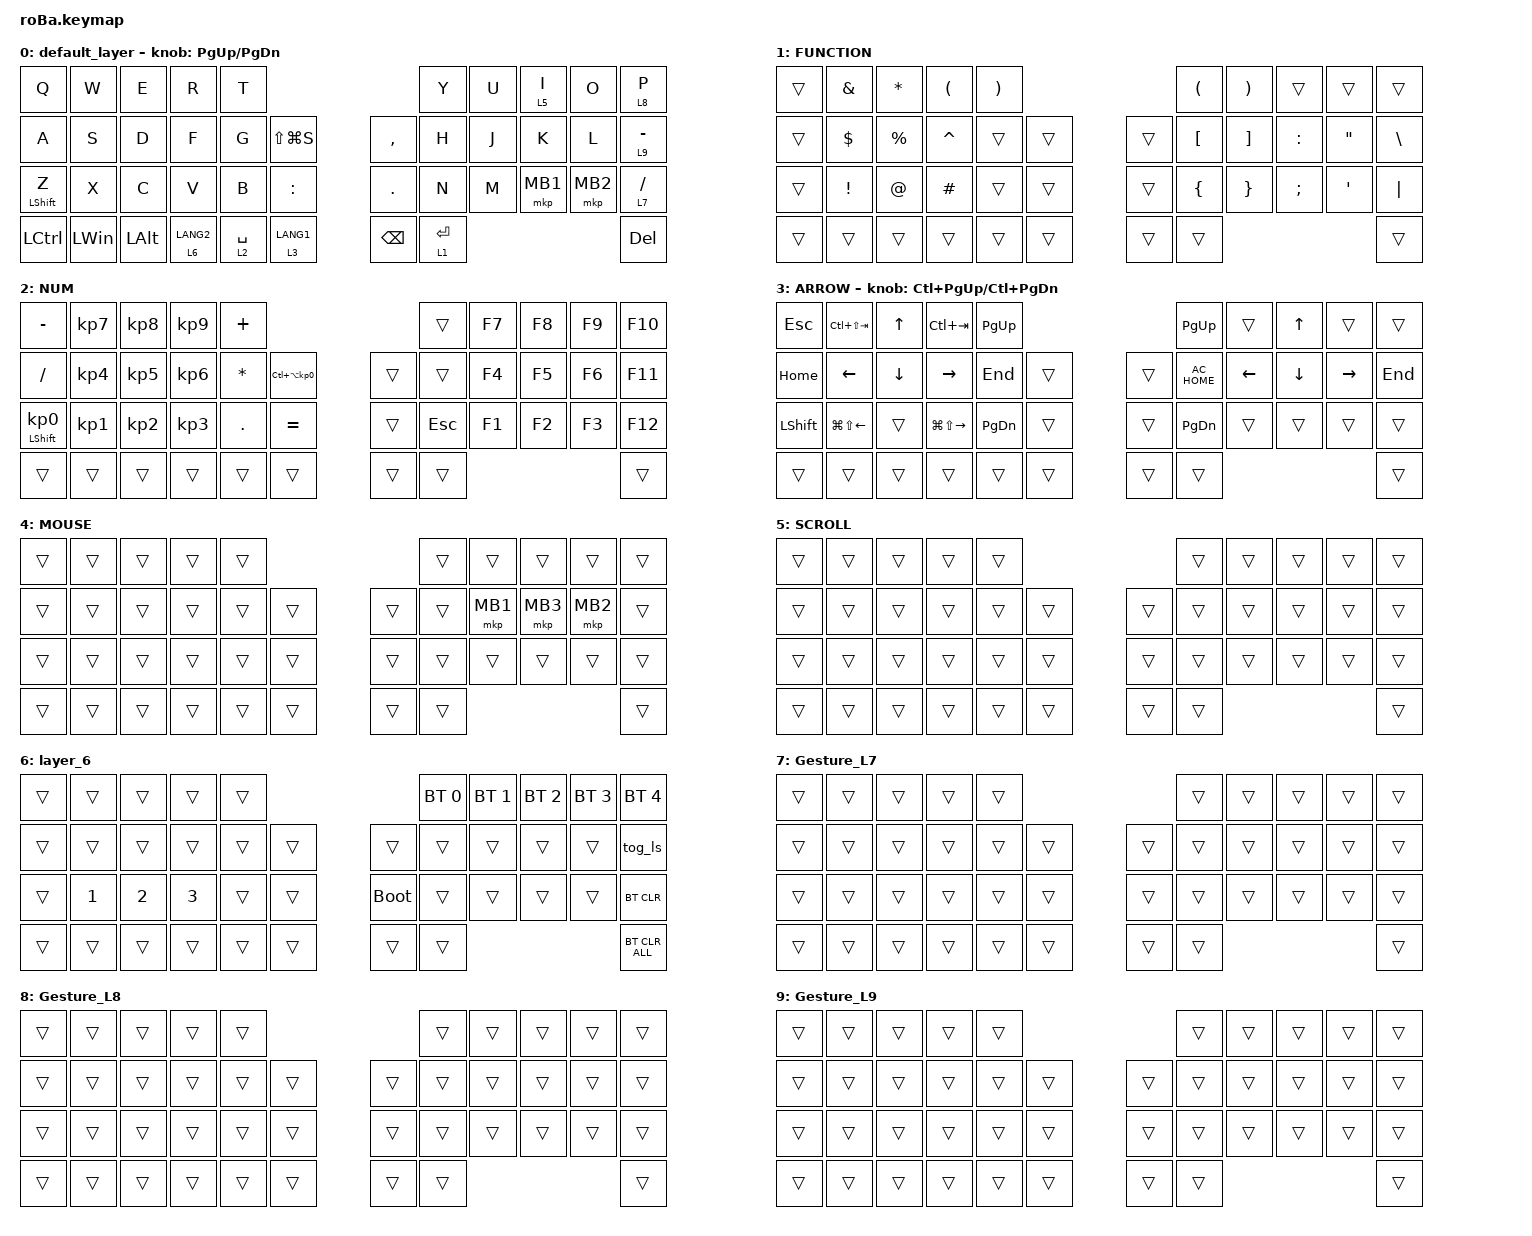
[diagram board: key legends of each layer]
#include <mouse-gesture.dtsi>
#include "gesture/gesture_L7.dtsi"
#include "gesture/gesture_L8.dtsi"
#include "gesture/gesture_L9.dtsi"
#include <layout_shift.dtsi>
#include <behaviors.dtsi>
#include <dt-bindings/zmk/bt.h>
#include <dt-bindings/zmk/keys.h>
#include <dt-bindings/zmk/pointing.h>

&tog_ls { layout-maps = <&layout_shift_map_us_to_jis>; };

&mt {
    flavor = "balanced";
    quick-tap-ms = <0>;
};

&trackball {
    automouse-layer = <(-1)>;
    scroll-layers = <5>;

    // arrows {
    //     layers = <3>;
    //     bindings =
    //         <&kp RIGHT_ARROW>,
    //         <&kp LEFT_ARROW>,
    //         <&kp UP_ARROW>,
    //         <&kp DOWN_ARROW>;
    //     tick = <10>;
    //     wait-ms = <5>;
    //     tap-ms = <5>;
    // };
};

/ {
    combos {
        compatible = "zmk,combos";

        tab {
            bindings = <&kp TAB>;
            key-positions = <11 12>;
        };

        shift_tab {
            bindings = <&kp LS(TAB)>;
            key-positions = <12 13>;
        };

        muhennkann {
            bindings = <&to_layer_0 INT_MUHENKAN>;
            key-positions = <11 10>;
        };

        double_quotation {
            bindings = <&kp DOUBLE_QUOTES>;
            key-positions = <16 17>;
        };

        eq {
            bindings = <&kp EQUAL>;
            key-positions = <24 25>;
        };

        mkp_button1 {
            bindings = <&mkp MB3>;
            key-positions = <31 32>;
        };

        Escape {
            bindings = <&kp ESC>;
            key-positions = <1 2>;
        };

        Caps {
            bindings = <&kp CAPS>;
            key-positions = <10 22>;
        };
    };

    macros {
        to_layer_0: to_layer_0 {
            compatible = "zmk,behavior-macro-one-param";
            #binding-cells = <1>;
            bindings = <&to 0 &macro_param_1to1 &kp MACRO_PLACEHOLDER>;
            label = "TO_LAYER_0";
        };
    };

    behaviors {
        lt_to_layer_0: lt_to_layer_0 {
            compatible = "zmk,behavior-hold-tap";
            label = "LAYER_TAP_TO_0";
            bindings = <&mo>, <&to_layer_0>;

            #binding-cells = <2>;
            tapping-term-ms = <200>;
        };

        // --- layout-shift: &kp を JIS 対応版で上書き ---
        // keymap editor は #include の順序を勝手に並べ替えるため、
        // layout_shift_kp_override.dtsi を include する方式だと behaviors.dtsi より
        // 前に置かれて上書きが無効化される。これを避けるため、上書き定義を
        // 本文の behaviors に直接置く（本文は常に全 include より後ろ＝確実に有効）。

        original_key_press: original_key_press {
            compatible = "zmk,behavior-key-press";
            #binding-cells = <1>;
            label = "KEY_PRESS";
        };

        kp: key_press {
            compatible = "zmk,behavior-layout-shift-key-press";
            #binding-cells = <1>;
            label = "LAYOUT_SHIFT_KEY_PRESS";
        };
    };

    keymap {
        compatible = "zmk,keymap";

        default_layer {
            bindings = <
&kp Q             &kp W         &kp E         &kp R                   &kp T                                                   &kp Y        &kp U  &lt 5 I   &kp O     &lt_to_layer_0 8 P
&kp A             &kp S         &kp D         &kp F                   &kp G        &kp LS(LG(S))               &kp COMMA      &kp H        &kp J  &kp K     &kp L     &lt 9 MINUS
&mt LEFT_SHIFT Z  &kp X         &kp C         &kp V                   &kp B        &kp COLON                   &kp PERIOD     &kp N        &kp M  &mkp MB1  &mkp MB2  &lt 7 SLASH
&kp LCTRL         &kp LEFT_WIN  &kp LEFT_ALT  &lt_to_layer_0 6 LANG2  &lt 2 SPACE  &lt_to_layer_0 3 LANG1      &kp BACKSPACE  &lt 1 ENTER                             &kp DEL
            >;

            sensor-bindings = <&inc_dec_kp PG_UP PAGE_DOWN>;
        };

        FUNCTION {
            bindings = <
&trans  &kp AMPERSAND  &kp ASTERISK  &kp LEFT_PARENTHESIS  &kp RIGHT_PARENTHESIS                      &kp LEFT_PARENTHESIS  &kp RIGHT_PARENTHESIS  &trans     &trans             &trans
&trans  &kp DOLLAR     &kp PERCENT   &kp CARET             &trans                 &trans      &trans  &kp LEFT_BRACKET      &kp RIGHT_BRACKET      &kp COLON  &kp DOUBLE_QUOTES  &kp BACKSLASH
&trans  &kp EXCL       &kp AT        &kp HASH              &trans                 &trans      &trans  &kp LEFT_BRACE        &kp RIGHT_BRACE        &kp SEMI   &kp APOS           &kp PIPE
&trans  &trans         &trans        &trans                &trans                 &trans      &trans  &trans                                                                     &trans
            >;
        };

        NUM {
            bindings = <
&kp MINUS                   &kp KP_NUMBER_7  &kp KP_NUMBER_8  &kp KP_NUMBER_9  &kp PLUS                                           &trans   &kp F7  &kp F8  &kp F9  &kp F10
&kp SLASH                   &kp KP_NUMBER_4  &kp KP_NUMBER_5  &kp KP_NUMBER_6  &kp ASTERISK  &kp LC(LA(KP_NUMBER_0))      &trans  &trans   &kp F4  &kp F5  &kp F6  &kp F11
&mt LEFT_SHIFT KP_NUMBER_0  &kp KP_NUMBER_1  &kp KP_NUMBER_2  &kp KP_NUMBER_3  &kp PERIOD    &kp EQUAL                    &trans  &kp ESC  &kp F1  &kp F2  &kp F3  &kp F12
&trans                      &trans           &trans           &trans           &trans        &trans                       &trans  &trans                           &trans
            >;
        };

        ARROW {
            bindings = <
&kp ESCAPE      &kp LC(LS(TAB))         &kp UP_ARROW    &kp LC(TAB)              &kp PAGE_UP                        &kp PAGE_UP    &trans          &kp UP_ARROW    &trans     &trans
&kp HOME        &kp LEFT_ARROW          &kp DOWN_ARROW  &kp RIGHT_ARROW          &kp END        &trans      &trans  &kp C_AC_HOME  &kp LEFT_ARROW  &kp DOWN_ARROW  &kp RIGHT  &kp END
&kp LEFT_SHIFT  &kp LG(LS(LEFT_ARROW))  &trans          &kp LG(LS(RIGHT_ARROW))  &kp PAGE_DOWN  &trans      &trans  &kp PAGE_DOWN  &trans          &trans          &trans     &trans
&trans          &trans                  &trans          &trans                   &trans         &trans      &trans  &trans                                                    &trans
            >;

            sensor-bindings = <&inc_dec_kp LC(PAGE_UP) LC(PAGE_DOWN)>;
        };

        MOUSE {
            bindings = <
&trans  &trans  &trans  &trans  &trans                      &trans  &trans    &trans    &trans    &trans
&trans  &trans  &trans  &trans  &trans  &trans      &trans  &trans  &mkp MB1  &mkp MB3  &mkp MB2  &trans
&trans  &trans  &trans  &trans  &trans  &trans      &trans  &trans  &trans    &trans    &trans    &trans
&trans  &trans  &trans  &trans  &trans  &trans      &trans  &trans                                &trans
            >;
        };

        SCROLL {
            bindings = <
&trans  &trans  &trans  &trans  &trans                      &trans  &trans  &trans  &trans  &trans
&trans  &trans  &trans  &trans  &trans  &trans      &trans  &trans  &trans  &trans  &trans  &trans
&trans  &trans  &trans  &trans  &trans  &trans      &trans  &trans  &trans  &trans  &trans  &trans
&trans  &trans  &trans  &trans  &trans  &trans      &trans  &trans                          &trans
            >;
        };

        layer_6 {
            bindings = <
&trans  &trans        &trans        &trans        &trans                           &bt BT_SEL 0  &bt BT_SEL 1  &bt BT_SEL 2  &bt BT_SEL 3  &bt BT_SEL 4
&trans  &trans        &trans        &trans        &trans  &trans      &trans       &trans        &trans        &trans        &trans        &tog_ls
&trans  &kp NUMBER_1  &kp NUMBER_2  &kp NUMBER_3  &trans  &trans      &bootloader  &trans        &trans        &trans        &trans        &bt BT_CLR
&trans  &trans        &trans        &trans        &trans  &trans      &trans       &trans                                                  &bt BT_CLR_ALL
            >;
        };

        Gesture_L7 {
            bindings = <
&trans  &trans  &trans  &trans  &trans                      &trans  &trans  &trans  &trans  &trans
&trans  &trans  &trans  &trans  &trans  &trans      &trans  &trans  &trans  &trans  &trans  &trans
&trans  &trans  &trans  &trans  &trans  &trans      &trans  &trans  &trans  &trans  &trans  &trans
&trans  &trans  &trans  &trans  &trans  &trans      &trans  &trans                          &trans
            >;
        };

        Gesture_L8 {
            bindings = <
&trans  &trans  &trans  &trans  &trans                      &trans  &trans  &trans  &trans  &trans
&trans  &trans  &trans  &trans  &trans  &trans      &trans  &trans  &trans  &trans  &trans  &trans
&trans  &trans  &trans  &trans  &trans  &trans      &trans  &trans  &trans  &trans  &trans  &trans
&trans  &trans  &trans  &trans  &trans  &trans      &trans  &trans                          &trans
            >;
        };

        Gesture_L9 {
            bindings = <
&trans  &trans  &trans  &trans  &trans                      &trans  &trans  &trans  &trans  &trans
&trans  &trans  &trans  &trans  &trans  &trans      &trans  &trans  &trans  &trans  &trans  &trans
&trans  &trans  &trans  &trans  &trans  &trans      &trans  &trans  &trans  &trans  &trans  &trans
&trans  &trans  &trans  &trans  &trans  &trans      &trans  &trans                          &trans
            >;
        };
    };
};
